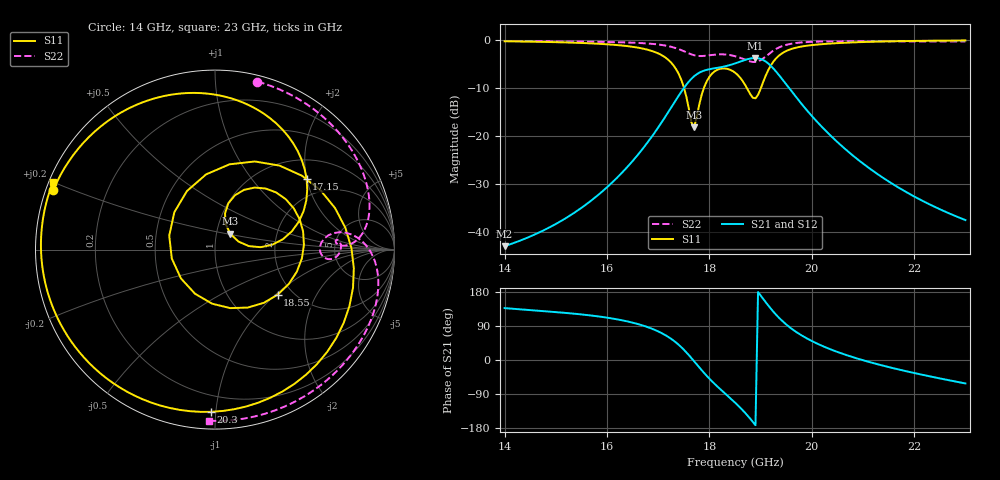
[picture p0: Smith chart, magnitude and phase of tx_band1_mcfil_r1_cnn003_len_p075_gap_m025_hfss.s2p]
! Touchstone file exported from HFSS 3D Layout Design 2026.1.0
!  File:  D:/Work/SIM/ADS_AUTO_SIM/projects/RFSOC_RF/TX_Fillter.aedt
!  Generated:  09:39:19 PM Aug 30, 2026
!  Design:  TX_BAND1_MCFIL_R1_CNN003
!  Project:  TX_Fillter
# GHz S MA R 50.000000
! Terminal data exported
! Port[1] = Port1
! Port[2] = Port2
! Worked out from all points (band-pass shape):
!   181 points, 14 GHz to 23 GHz, reference 50 ohm
!   highest |S21| = -3.83 dB at 18.9 GHz (marker M1); lowest = -42.9 dB at 14 GHz (marker M2)
!   |S21| within 3 dB of the highest: 17.81 GHz to 19.32 GHz (1.505 GHz wide, 8.11 % of centre)
!   lowest |S11| = -18.2 dB at 17.7 GHz (marker M3), VSWR 1.28, Z = 58.3 + j10.4 ohm
!   |S11| at or under -10 dB: 17.5 GHz to 17.89 GHz (391.8 MHz wide, 2.21 % of centre); 18.73 GHz to 19.01 GHz (279.9 MHz wide, 1.48 % of centre)
!   |S22| runs from -4.7 to -0.3 dB; largest |S21 - S12| = 1.1e-14
!   S11 on the Smith chart (normalised r, x): 14 GHz: 0.02, +0.18; 17.15 GHz: 1.48, +1.99; 18.55 GHz: 1.68, -1.03; 20.3 GHz: 0.10, -0.97; 23 GHz: 0.01, +0.20
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14  0.9597 159.8  0.00718 136.9  0.00718 136.9  0.9651 75.8
15.5  0.9211 120.9  0.01792 120.3  0.01792 120.3  0.9518 47.4
16.4  0.854 86.3  0.0478 101.8  0.0478 101.8  0.9316 28.9
17  0.7176 50.1  0.1223 75.4  0.1223 75.4  0.8882 14.4
17.15  0.6448 37.7  0.1615 64.8  0.1615 64.8  0.8639 10.4
17.5  0.3206 4.9  0.3131 27.3  0.3131 27.3  0.7566 2.3
17.7  0.1226 46.1  0.4151 -3.1  0.4151 -3.1  0.6871 2.4
18.05  0.442 50.4  0.4976 -56.2  0.4976 -56.2  0.6927 4.0
18.3  0.5011 11.5  0.5263 -87.8  0.5263 -87.8  0.6999 -0.2
18.5  0.4535 -25.0  0.5646 -112.4  0.5646 -112.4  0.6717 -3.8
18.55  0.4302 -35.7  0.5767 -118.9  0.5767 -118.9  0.6599 -4.4
18.75  0.3016 -93.1  0.6261 -147.3  0.6261 -147.3  0.6031 -3.7
18.9  0.2458 -168.3  0.6431 -172.0  0.6431 -172.0  0.5852 1.5
19.1  0.422 96.8  0.5907 152.4  0.5907 152.4  0.6672 7.9
19.25  0.5902 52.5  0.5 127.4  0.5 127.4  0.7675 6.2
19.4  0.708 19.0  0.4013 106.0  0.4013 106.0  0.8454 1.3
19.55  0.7804 -7.6  0.3164 88.3  0.3164 88.3  0.8937 -4.3
20  0.8753 -64.5  0.1612 50.1  0.1612 50.1  0.9468 -19.1
20.3  0.9039 -91.3  0.1092 31.7  0.1092 31.7  0.9553 -27.4
20.85  0.9359 -127.6  0.05968 5.5  0.05968 5.5  0.9584 -41.2
21.5  0.9573 -157.7  0.03371 -18.6  0.03371 -18.6  0.9574 -56.7
23  0.9779 157.5  0.0134 -61.9  0.0134 -61.9  0.9542 -91.9
